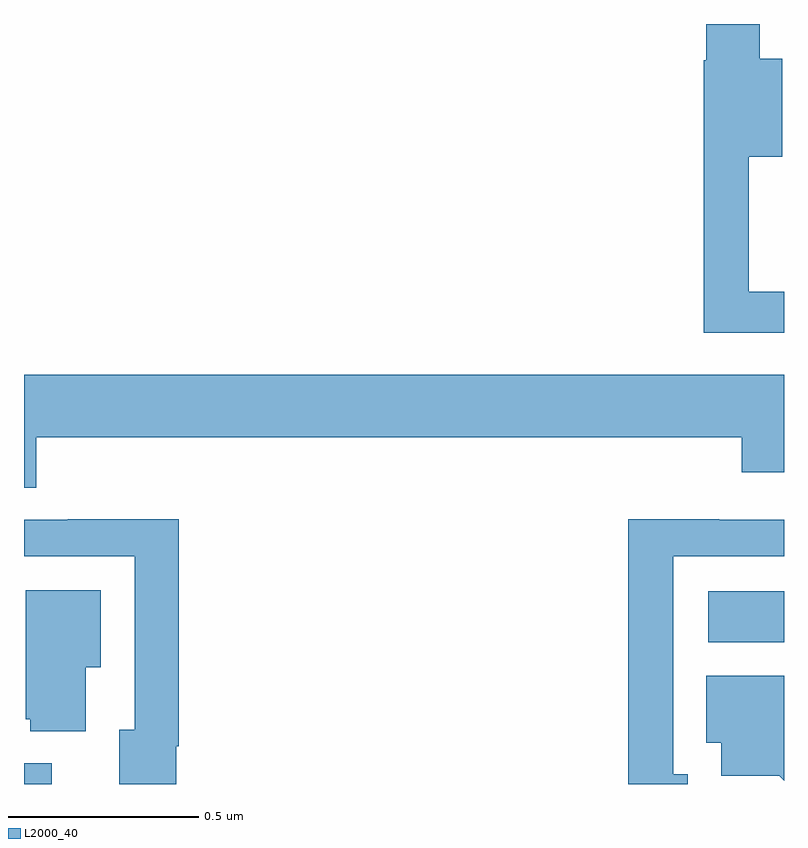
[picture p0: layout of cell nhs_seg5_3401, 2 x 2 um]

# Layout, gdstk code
import gdstk
lib = gdstk.Library(unit=1e-6, precision=1e-09)
def R(c, l, rs):  # rectangles x0, y0, x1, y1
    for r in rs: c.add(gdstk.rectangle(r[:2], r[2:], *l))
def P(c, l, *ps):  # polygons
    for p in ps: c.add(gdstk.Polygon(p, *l))
L2000_40 = (2000, 40)

nhs_seg5_3401 = lib.new_cell('nhs_seg5_3401')
R(nhs_seg5_3401, L2000_40, [(156,903.799,156.073,903.853), (157.8,904.172,158,904.306)])
P(nhs_seg5_3401, L2000_40, [(158,905.095),(157.907,905.095),(157.907,905.45),(157.996,905.45),(157.996,905.707),(157.936,905.707),(157.936,905.799),(157.796,905.799),(157.796,905.703),(157.789,905.703),(157.789,904.986),(158,904.986)],
  [(156.032,904.712),(157.889,904.712),(157.889,904.619),(158,904.619),(158,904.876),(156,904.876),(156,904.579),(156.032,904.579)],
  [(156.4,903.898),(156.407,903.898),(156.407,904.496),(156.115,904.496),(156.115,904.494),(156,904.494),(156,904.398),(156.291,904.398),(156.291,903.942),(156.251,903.942),(156.251,903.799),(156.4,903.799)],
  [(157.747,903.825),(157.708,903.825),(157.708,904.398),(158,904.398),(158,904.494),(157.83,904.494),(157.83,904.496),(157.59,904.496),(157.59,903.799),(157.747,903.799)],
  [(156.163,904.106),(156.202,904.106),(156.202,904.309),(156.005,904.309),(156.005,903.969),(156.017,903.969),(156.017,903.938),(156.163,903.938)],
  [(158,904.084),(157.796,904.084),(157.796,903.908),(157.835,903.908),(157.835,903.821),(157.987,903.821),(158,903.808)])

lib.write_gds('nhs_seg5_3401.gds')
